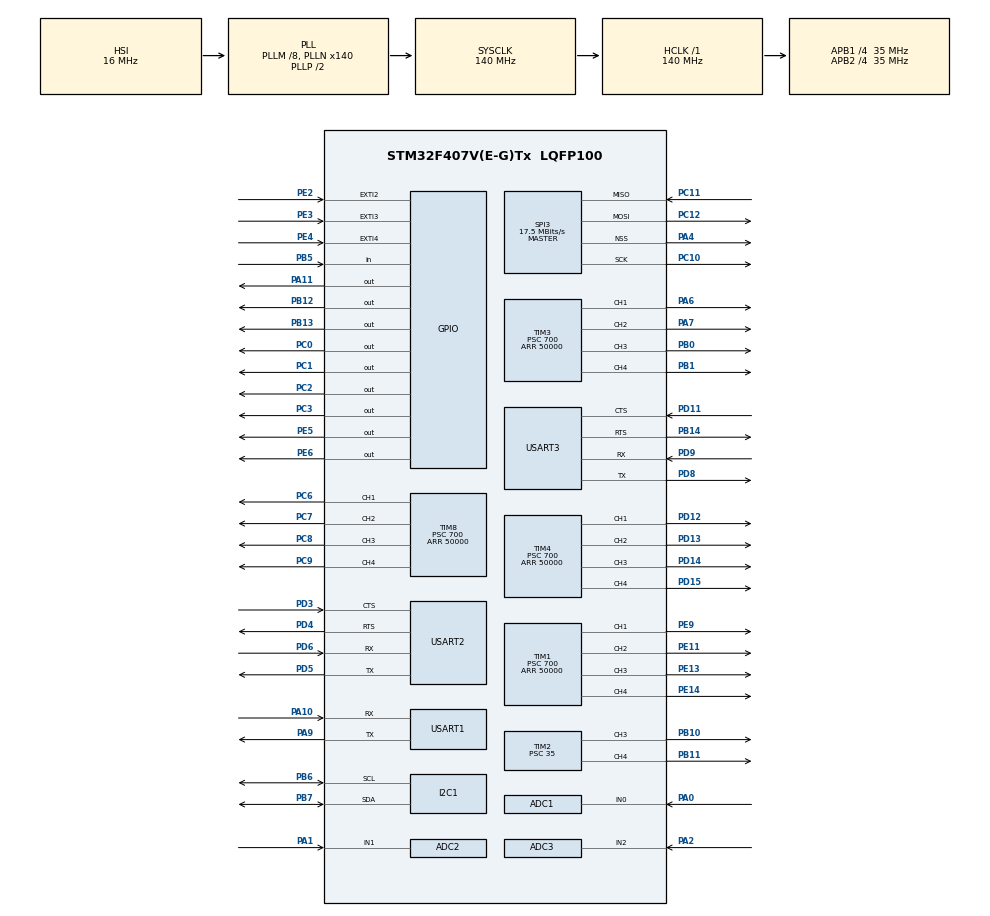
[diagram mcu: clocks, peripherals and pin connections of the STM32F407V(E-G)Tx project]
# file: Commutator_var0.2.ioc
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ADC1.Channel-0\#ChannelRegularConversion=ADC_CHANNEL_0
ADC1.ClockPrescaler=ADC_CLOCK_SYNC_PCLK_DIV4
ADC1.NbrOfConversionFlag=1
ADC1.Rank-0\#ChannelRegularConversion=1
ADC1.SamplingTime-0\#ChannelRegularConversion=ADC_SAMPLETIME_3CYCLES
ADC1.master=1
ADC2.Channel-0\#ChannelRegularConversion=ADC_CHANNEL_1
ADC2.ClockPrescaler=ADC_CLOCK_SYNC_PCLK_DIV4
ADC2.NbrOfConversionFlag=1
ADC2.Rank-0\#ChannelRegularConversion=1
ADC2.SamplingTime-0\#ChannelRegularConversion=ADC_SAMPLETIME_3CYCLES
ADC3.Channel-0\#ChannelRegularConversion=ADC_CHANNEL_2
ADC3.ClockPrescaler=ADC_CLOCK_SYNC_PCLK_DIV4
ADC3.NbrOfConversionFlag=1
ADC3.Rank-0\#ChannelRegularConversion=1
ADC3.SamplingTime-0\#ChannelRegularConversion=ADC_SAMPLETIME_3CYCLES
Mcu.Family=STM32F4
Mcu.Name=STM32F407V(E-G)Tx
Mcu.Package=LQFP100
NVIC.EXTI2_IRQn=true\:0\:0\:false\:false\:true\:true\:true
NVIC.EXTI3_IRQn=true\:0\:0\:false\:false\:true\:true\:true
NVIC.EXTI4_IRQn=true\:0\:0\:false\:false\:true\:true\:true
NVIC.PriorityGroup=NVIC_PRIORITYGROUP_4
PA0-WKUP.Signal=ADCx_IN0
PA1.Signal=ADCx_IN1
PA10.Mode=Asynchronous
PA10.Signal=USART1_RX
PA11.Signal=GPIO_Output
PA13.Mode=JTAG_5_pins
PA13.Signal=SYS_JTMS-SWDIO
PA14.Mode=JTAG_5_pins
PA14.Signal=SYS_JTCK-SWCLK
PA15.Mode=JTAG_5_pins
PA15.Signal=SYS_JTDI
PA2.Signal=ADCx_IN2
PA4.Mode=NSS_Signal_Hard_Output
PA4.Signal=SPI3_NSS
PA6.Signal=S_TIM3_CH1
PA7.Signal=S_TIM3_CH2
PA9.Mode=Asynchronous
PA9.Signal=USART1_TX
PB0.Signal=S_TIM3_CH3
PB1.Signal=S_TIM3_CH4
PB10.Signal=S_TIM2_CH3
PB11.Signal=S_TIM2_CH4
PB12.GPIO_Speed=GPIO_SPEED_FREQ_VERY_HIGH
PB12.Signal=GPIO_Output
PB13.GPIO_Speed=GPIO_SPEED_FREQ_VERY_HIGH
PB13.Signal=GPIO_Output
PB14.Mode=CTS_RTS
PB14.Signal=USART3_RTS
PB3.Mode=JTAG_5_pins
PB3.Signal=SYS_JTDO-SWO
PB4.Mode=JTAG_5_pins
PB4.Signal=SYS_JTRST
PB5.Signal=GPIO_Input
PB6.Mode=I2C
PB6.Signal=I2C1_SCL
PB7.Mode=I2C
PB7.Signal=I2C1_SDA
PC0.GPIO_Speed=GPIO_SPEED_FREQ_VERY_HIGH
PC0.Signal=GPIO_Output
PC1.GPIO_Speed=GPIO_SPEED_FREQ_VERY_HIGH
PC1.Signal=GPIO_Output
PC10.Mode=Full_Duplex_Master
PC10.Signal=SPI3_SCK
PC11.Mode=Full_Duplex_Master
PC11.Signal=SPI3_MISO
PC12.Mode=Full_Duplex_Master
PC12.Signal=SPI3_MOSI
PC14-OSC32_IN.Mode=LSE-External-Oscillator
PC14-OSC32_IN.Signal=RCC_OSC32_IN
PC15-OSC32_OUT.Mode=LSE-External-Oscillator
PC15-OSC32_OUT.Signal=RCC_OSC32_OUT
PC2.GPIO_Speed=GPIO_SPEED_FREQ_VERY_HIGH
PC2.Signal=GPIO_Output
PC3.GPIO_Speed=GPIO_SPEED_FREQ_VERY_HIGH
PC3.Signal=GPIO_Output
PC6.Signal=S_TIM8_CH1
PC7.Signal=S_TIM8_CH2
PC8.Signal=S_TIM8_CH3
PC9.Signal=S_TIM8_CH4
PD11.Mode=CTS_RTS
PD11.Signal=USART3_CTS
PD12.Signal=S_TIM4_CH1
PD13.Signal=S_TIM4_CH2
PD14.Signal=S_TIM4_CH3
PD15.Signal=S_TIM4_CH4
PD3.Mode=CTS_RTS
PD3.Signal=USART2_CTS
PD4.Mode=CTS_RTS
PD4.Signal=USART2_RTS
PD5.Mode=Asynchronous
PD5.Signal=USART2_TX
PD6.Mode=Asynchronous
PD6.Signal=USART2_RX
PD8.Mode=Asynchronous
PD8.Signal=USART3_TX
PD9.Mode=Asynchronous
PD9.Signal=USART3_RX
PE11.GPIO_Speed=GPIO_SPEED_FREQ_HIGH
PE11.Signal=S_TIM1_CH2
PE13.GPIO_Speed=GPIO_SPEED_FREQ_HIGH
PE13.Signal=S_TIM1_CH3
PE14.GPIO_Speed=GPIO_SPEED_FREQ_HIGH
PE14.Signal=S_TIM1_CH4
PE2.Signal=GPXTI2
PE3.Signal=GPXTI3
PE4.Signal=GPXTI4
PE5.Signal=GPIO_Output
PE6.Signal=GPIO_Output
PE9.GPIO_Speed=GPIO_SPEED_FREQ_HIGH
PE9.Signal=S_TIM1_CH1
PH0-OSC_IN.Mode=HSE-External-Oscillator
PH0-OSC_IN.Signal=RCC_OSC_IN
PH1-OSC_OUT.Mode=HSE-External-Oscillator
PH1-OSC_OUT.Signal=RCC_OSC_OUT
ProjectManager.HeapSize=0x200
ProjectManager.StackSize=0x400
ProjectManager.TargetToolchain=MDK-ARM V5.27
RCC.48MHZClocksFreq_Value=70000000
RCC.AHBFreq_Value=140000000
RCC.APB1CLKDivider=RCC_HCLK_DIV4
RCC.APB1Freq_Value=35000000
RCC.APB1TimFreq_Value=70000000
RCC.APB2CLKDivider=RCC_HCLK_DIV4
RCC.APB2Freq_Value=35000000
RCC.APB2TimFreq_Value=70000000
RCC.CortexFreq_Value=140000000
RCC.HCLKFreq_Value=140000000
RCC.HSE_VALUE=16000000
RCC.HSI_VALUE=16000000
RCC.PLLM=8
RCC.PLLN=140
RCC.SYSCLKFreq_VALUE=140000000
RCC.SYSCLKSource=RCC_SYSCLKSOURCE_PLLCLK
RCC.VCOOutputFreq_Value=280000000
SH.ADCx_IN0.0=ADC1_IN0,IN0
SH.ADCx_IN1.0=ADC2_IN1,IN1
SH.ADCx_IN2.0=ADC3_IN2,IN2
SH.S_TIM1_CH1.0=TIM1_CH1,PWM Generation1 CH1
SH.S_TIM1_CH2.0=TIM1_CH2,PWM Generation2 CH2
SH.S_TIM1_CH3.0=TIM1_CH3,PWM Generation3 CH3
SH.S_TIM1_CH4.0=TIM1_CH4,PWM Generation4 CH4
SH.S_TIM2_CH3.0=TIM2_CH3,PWM Generation3 CH3
SH.S_TIM2_CH4.0=TIM2_CH4,PWM Generation4 CH4
SH.S_TIM3_CH1.0=TIM3_CH1,PWM Generation1 CH1
SH.S_TIM3_CH2.0=TIM3_CH2,PWM Generation2 CH2
SH.S_TIM3_CH3.0=TIM3_CH3,PWM Generation3 CH3
SH.S_TIM3_CH4.0=TIM3_CH4,PWM Generation4 CH4
SH.S_TIM4_CH1.0=TIM4_CH1,PWM Generation1 CH1
SH.S_TIM4_CH2.0=TIM4_CH2,PWM Generation2 CH2
SH.S_TIM4_CH3.0=TIM4_CH3,PWM Generation3 CH3
SH.S_TIM4_CH4.0=TIM4_CH4,PWM Generation4 CH4
SH.S_TIM8_CH1.0=TIM8_CH1,PWM Generation1 CH1
SH.S_TIM8_CH2.0=TIM8_CH2,PWM Generation2 CH2
SH.S_TIM8_CH3.0=TIM8_CH3,PWM Generation3 CH3
SH.S_TIM8_CH4.0=TIM8_CH4,PWM Generation4 CH4
SPI3.BaudRatePrescaler=SPI_BAUDRATEPRESCALER_2
SPI3.CalculateBaudRate=17.5 MBits/s
SPI3.Direction=SPI_DIRECTION_2LINES
SPI3.Mode=SPI_MODE_MASTER
SPI3.VirtualNSS=VM_NSSHARD
SPI3.VirtualType=VM_MASTER
TIM1.Channel-PWM\ Generation1\ CH1=TIM_CHANNEL_1
TIM1.Channel-PWM\ Generation2\ CH2=TIM_CHANNEL_2
TIM1.Channel-PWM\ Generation3\ CH3=TIM_CHANNEL_3
TIM1.Channel-PWM\ Generation4\ CH4=TIM_CHANNEL_4
TIM1.CounterMode=TIM_COUNTERMODE_CENTERALIGNED1
TIM1.OCPolarity_2=TIM_OCPOLARITY_LOW
TIM1.OCPolarity_4=TIM_OCPOLARITY_LOW
TIM1.Period=50000
TIM1.Prescaler=700
TIM2.Channel-PWM\ Generation3\ CH3=TIM_CHANNEL_3
TIM2.Channel-PWM\ Generation4\ CH4=TIM_CHANNEL_4
TIM2.Period=2000
TIM2.Prescaler=35
TIM3.Channel-PWM\ Generation1\ CH1=TIM_CHANNEL_1
TIM3.Channel-PWM\ Generation2\ CH2=TIM_CHANNEL_2
TIM3.Channel-PWM\ Generation3\ CH3=TIM_CHANNEL_3
TIM3.Channel-PWM\ Generation4\ CH4=TIM_CHANNEL_4
TIM3.CounterMode=TIM_COUNTERMODE_CENTERALIGNED1
TIM3.OCPolarity_2=TIM_OCPOLARITY_LOW
TIM3.OCPolarity_4=TIM_OCPOLARITY_LOW
TIM3.Period=50000
TIM3.Prescaler=700
TIM4.Channel-PWM\ Generation1\ CH1=TIM_CHANNEL_1
TIM4.Channel-PWM\ Generation2\ CH2=TIM_CHANNEL_2
TIM4.Channel-PWM\ Generation3\ CH3=TIM_CHANNEL_3
TIM4.Channel-PWM\ Generation4\ CH4=TIM_CHANNEL_4
TIM4.CounterMode=TIM_COUNTERMODE_CENTERALIGNED1
TIM4.OCPolarity_2=TIM_OCPOLARITY_LOW
TIM4.OCPolarity_4=TIM_OCPOLARITY_LOW
TIM4.Period=50000
TIM4.Prescaler=700
TIM8.Channel-PWM\ Generation1\ CH1=TIM_CHANNEL_1
TIM8.Channel-PWM\ Generation2\ CH2=TIM_CHANNEL_2
TIM8.Channel-PWM\ Generation3\ CH3=TIM_CHANNEL_3
TIM8.Channel-PWM\ Generation4\ CH4=TIM_CHANNEL_4
TIM8.CounterMode=TIM_COUNTERMODE_CENTERALIGNED1
TIM8.OCPolarity_2=TIM_OCPOLARITY_LOW
TIM8.OCPolarity_4=TIM_OCPOLARITY_LOW
TIM8.Period=50000
TIM8.Prescaler=700
USART1.VirtualMode=VM_ASYNC
USART2.VirtualMode=VM_ASYNC
USART3.VirtualMode=VM_ASYNC
board=custom

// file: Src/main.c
/* USER CODE BEGIN Header */
/**
  ******************************************************************************
  * @file           : main.c
  * @brief          : Main program body
  ******************************************************************************
  * @attention
  *
  * <h2><center>&copy; Copyright (c) 2021 STMicroelectronics.
  * All rights reserved.</center></h2>
  *
  * This software component is licensed by ST under BSD 3-Clause license,
  * the "License"; You may not use this file except in compliance with the
  * License. You may obtain a copy of the License at:
  *                        opensource.org/licenses/BSD-3-Clause
  *
  ******************************************************************************
  */
/* USER CODE END Header */

#include "main.h"

/* USER CODE BEGIN Includes */
#include "main.h"
#include "INA233.h"
#include "setting.h"
#include "Display_LCD.h"
/* USER CODE END Includes */

/* USER CODE BEGIN PTD */
#ifndef __MAIN_
#define __MAIN_
#define TIM_PSC 0x0578; //0x01A4
#define TIM_CP 0xC350; //0xC350
#endif
/* USER CODE END PTD */

ADC_HandleTypeDef hadc1;
ADC_HandleTypeDef hadc2;
ADC_HandleTypeDef hadc3;

I2C_HandleTypeDef hi2c1;

SPI_HandleTypeDef hspi3;

TIM_HandleTypeDef htim1;
TIM_HandleTypeDef htim2;
TIM_HandleTypeDef htim3;
TIM_HandleTypeDef htim4;
TIM_HandleTypeDef htim8;

UART_HandleTypeDef huart1;
UART_HandleTypeDef huart2;
UART_HandleTypeDef huart3;

/* USER CODE BEGIN PV */
static float maxVolt, voltage[8], prevVolt, current[8], maxCur, m/*, tempADC, cvddADC, pvddADC*/;
volatile uint32_t /*ADC_Data_1, ADC_Data_2, ADC_Data_3,*/ FlagIRQ, TimeIRQ, timeCheckPiont;
int cycleCheck, cycleCheckPiont, BuzzerFlag, buzzerCycle, IRQCycle;
struct LCD_Port_t LCD_SPI;
char toChar[5];
IRQn_Type IRQn;

/* USER CODE END PV */

void SystemClock_Config(void);
static void MX_GPIO_Init(void);
static void MX_ADC1_Init(void);
static void MX_I2C1_Init(void);
static void MX_SPI3_Init(void);
static void MX_TIM1_Init(void);
static void MX_TIM2_Init(void);
static void MX_TIM3_Init(void);
static void MX_TIM4_Init(void);
static void MX_TIM8_Init(void);
static void MX_USART1_UART_Init(void);
static void MX_USART2_UART_Init(void);
static void MX_USART3_UART_Init(void);
static void MX_ADC2_Init(void);
static void MX_ADC3_Init(void);
/* USER CODE BEGIN PFP */
static void StartAllChannels(void);
static void StopAllChannels(void);
static void BuzzerOn(void);
static void BuzzerOff(void);
/* USER CODE END PFP */

int main(void)
{

  /* MCU Configuration--------------------------------------------------------*/

  /* Reset of all peripherals, Initializes the Flash interface and the Systick. */
  HAL_Init();

  /* Configure the system clock */
  SystemClock_Config();

  /* Initialize all configured peripherals */
  MX_GPIO_Init();
  MX_ADC1_Init();
  MX_I2C1_Init();
  MX_SPI3_Init();
  MX_TIM1_Init();
  MX_TIM2_Init();
  MX_TIM3_Init();
  MX_TIM4_Init();
  MX_TIM8_Init();
  MX_USART1_UART_Init();
  MX_USART2_UART_Init();
  MX_USART3_UART_Init();
  MX_ADC2_Init();
  MX_ADC3_Init();
  /* USER CODE BEGIN 2 */
//HAL_TIM_Base_Start_IT(&htim5);

//init INA233--------------------
	m = sens_set(50.0f); // (MAX CURRENT)
//-------------------------------

//init LCD-------------------------------------------------
//	LCD_SPI.SPI_Port.MISO_Pin = GPIO_PIN_11;
//	LCD_SPI.SPI_Port.MISO_Port = GPIOC;
	LCD_SPI.SPI_Port.MOSI_Pin = GPIO_PIN_2;
	LCD_SPI.SPI_Port.MOSI_Port = GPIOC;
	LCD_SPI.SPI_Port.SCLK_Pin = GPIO_PIN_13;
	LCD_SPI.SPI_Port.SCLK_Port = GPIOB;
	LCD_SPI.SPI_Port.SCS_Pin = GPIO_PIN_12;
	LCD_SPI.SPI_Port.SCS_Port = GPIOB;
	LCD_SPI.RESET_Pin = GPIO_PIN_1;
	LCD_SPI.RESET_Port = GPIOC;

//Display init--------------------------------------------
	ConfigDisplayPort(LCD_SPI);
	Init_LCD();
//	Paint_Color((uint8_t)0x22);
//	set_bckgrnd(0x5555);
	cls();
	//draw_line(1, 1, 159, 127, (uint8_t) 0xffff);
	//draw_symbol(20, 20, cTest);
	draw_string(5, 5, (char*) "U1c=");
	draw_string(5, 15, (char*) "U1p=");
	draw_string(5, 25, (char*) "U2c=");
	draw_string(5, 35, (char*) "U2p=");
	draw_string(5, 45, (char*) "U3c=");
	draw_string(5, 55, (char*) "U3p=");
	draw_string(5, 65, (char*) "U4c=");
	draw_string(5, 75, (char*) "U4p=");
	draw_string(5, 85, (char*) "Um=");
	draw_string(76, 5, (char*) "I1c=");
	draw_string(76, 15, (char*) "I1p=");
	draw_string(76, 25, (char*) "I2c=");
	draw_string(76, 35, (char*) "I2p=");
	draw_string(76, 45, (char*) "I3c=");
	draw_string(76, 55, (char*) "I3p=");
	draw_string(76, 65, (char*) "I4c=");
	draw_string(76, 75, (char*) "I4p=");
	draw_string(76, 85, (char*) "Im=");
	draw_string(5, 105, (char*) "Commutator pitaniya V2");
//---------------------------------------------------------

//Turn On Cooler-------------------------------------------------
	HAL_TIM_PWM_Start(&htim2, TIM_CHANNEL_4);
	TIM2->CCR4 = 2000;
  /* USER CODE END 2 */

  /* Infinite loop */
  while (1)
  {

    /* USER CODE BEGIN 3 */
		if (BuzzerFlag == 1)
		{
		buzzerCycle++;

			if (buzzerCycle == 2)
			{
				BuzzerOff();
				buzzerCycle = 0;
				BuzzerFlag = 0;
			}
		}
/*//Unlock Button after N msec----------------------------------
		if(FlagIRQ == 1)
		{ IRQCycle++;
			if (IRQCycle > 10)
			{
				__HAL_GPIO_EXTI_CLEAR_IT(IRQn);  // clear bit EXTI_PR
				NVIC_ClearPendingIRQ(IRQn); // clear bit NVIC_ICPRx
				HAL_NVIC_EnableIRQ(IRQn);   // turn on extIT
				FlagIRQ = 0;
				IRQCycle = 0;
			}
		}
//------------------------------------------------------------*/

/*// Turn on busser if PWM leg is hight-----------------------------------
    if (HAL_GPIO_ReadPin(GPIOA, GPIO_PIN_6) == GPIO_PIN_SET) BuzzerOn();
		else if (HAL_GPIO_ReadPin(GPIOA, GPIO_PIN_6) == GPIO_PIN_RESET) BuzzerOff();
//----------------------------------------------------------------------*/

// reading output data from INA233----------------------
		sens_V(0x80, &voltage[0], prevVolt);
		sens_V(0x82, &voltage[1], prevVolt);
		sens_V(0x84, &voltage[2], prevVolt);
		sens_V(0x86, &voltage[3], prevVolt);
		sens_V(0x88, &voltage[4], prevVolt);
		sens_V(0x8A, &voltage[5], prevVolt);
		sens_V(0x8C, &voltage[6], prevVolt);
		sens_V(0x8E, &voltage[7], prevVolt);

		for (int i = 0; i < 8; i++)
		{
			if ( maxVolt < voltage[i] ) maxVolt = voltage[i];
		}

		current[0] = sens_I(0x80, m);
		current[1] = sens_I(0x82, m);
		current[2] = sens_I(0x84, m);
		current[3] = sens_I(0x86, m);
		current[4] = sens_I(0x88, m);
		current[5] = sens_I(0x8A, m);
		current[6] = sens_I(0x8C, m);
		current[7] = sens_I(0x8E, m);

		for (int i = 0; i < 8; i++)
		{
			if ( maxCur < current[i] ) maxCur = current[i];
		}

//------------------------------------------------------

//send info to display bufer--------------------------------------------

		sprintf(toChar, "%.2f", voltage[0]);
		draw_string(35, 5, toChar);
		sprintf(toChar, "%.2f", voltage[1]);
		draw_string(35, 15, toChar);
		sprintf(toChar, "%.2f", voltage[2]);
		draw_string(35, 25, toChar);
		sprintf(toChar, "%.2f", voltage[3]);
		draw_string(35, 35, toChar);
		sprintf(toChar, "%.2f", voltage[4]);
		draw_string(35, 45, toChar);
		sprintf(toChar, "%.2f", voltage[5]);
		draw_string(35, 55, toChar);
		sprintf(toChar, "%.2f", voltage[6]);
		draw_string(35, 65, toChar);
		sprintf(toChar, "%.2f", voltage[7]);
		draw_string(35, 75, toChar);
		sprintf(toChar, "%.2f", maxVolt);
		draw_string(35, 85, toChar);
		sprintf(toChar, "%.2f", current[0]);
		draw_string(105, 5, toChar);
		sprintf(toChar, "%.2f", current[1]);
		draw_string(105, 15, toChar);
		sprintf(toChar, "%.2f", current[2]);
		draw_string(105, 25, toChar);
		sprintf(toChar, "%.2f", current[3]);
		draw_string(105, 35, toChar);
		sprintf(toChar, "%.2f", current[4]);
		draw_string(105, 45, toChar);
		sprintf(toChar, "%.2f", current[5]);
		draw_string(105, 55, toChar);
		sprintf(toChar, "%.2f", current[6]);
		draw_string(105, 65, toChar);
		sprintf(toChar, "%.2f", current[7]);
		draw_string(105, 75, toChar);
		sprintf(toChar, "%.2f", maxCur);
		draw_string(105, 85, toChar);
//----------------------------------------------------------------

/*//Read STM32 ADC data (temperature and Input Voltage lvls)--------
//		HAL_ADC_Start_DMA(&hadc1,(uint32_t*) &ADC_Data_1,1);
//		HAL_ADC_Start(&hadc1);
//		HAL_ADC_Start(&hadc2);
//		HAL_ADC_Start(&hadc3);
//		HAL_ADC_PollForConversion(&hadc1, 1000);
//		ADC_Data_1 = HAL_ADC_GetValue(&hadc1);
//		HAL_ADC_PollForConversion(&hadc2, 1000);
//		ADC_Data_2 = HAL_ADC_GetValue(&hadc2);
//		HAL_ADC_PollForConversion(&hadc3, 1000);
//		ADC_Data_3 = HAL_ADC_GetValue(&hadc3);
//		cvddADC = ((float)ADC_Data_1)*3.3/4096;
//		pvddADC = ((float)ADC_Data_2)*3.3/4096;
//		tempADC = ((float)ADC_Data_3)*3.3/4096;
//		HAL_ADC_Stop(&hadc1);
//		HAL_ADC_Stop(&hadc2);
//		HAL_ADC_Stop(&hadc3);
//-----------------------------------------------------------------*/

	cycleCheck++;
	if (cycleCheck%1 == 0)
	{
		UpdateBuf();
	}
	if (HAL_GPIO_ReadPin(GPIOA, GPIO_PIN_6) == GPIO_PIN_SET) HAL_GPIO_WritePin(GPIOE, GPIO_PIN_5, GPIO_PIN_SET);
	else HAL_GPIO_WritePin(GPIOE, GPIO_PIN_5, GPIO_PIN_RESET);
	}
  /* USER CODE END 3 */
}

void SystemClock_Config(void)
{
  RCC_OscInitTypeDef RCC_OscInitStruct = {0};
  RCC_ClkInitTypeDef RCC_ClkInitStruct = {0};

  /** Configure the main internal regulator output voltage
  */
  __HAL_RCC_PWR_CLK_ENABLE();
  __HAL_PWR_VOLTAGESCALING_CONFIG(PWR_REGULATOR_VOLTAGE_SCALE1);
  /** Initializes the CPU, AHB and APB busses clocks
  */
  RCC_OscInitStruct.OscillatorType = RCC_OSCILLATORTYPE_HSI;
  RCC_OscInitStruct.HSIState = RCC_HSI_ON;
  RCC_OscInitStruct.HSICalibrationValue = RCC_HSICALIBRATION_DEFAULT;
  RCC_OscInitStruct.PLL.PLLState = RCC_PLL_ON;
  RCC_OscInitStruct.PLL.PLLSource = RCC_PLLSOURCE_HSI;
  RCC_OscInitStruct.PLL.PLLM = 8;
  RCC_OscInitStruct.PLL.PLLN = 140;
  RCC_OscInitStruct.PLL.PLLP = RCC_PLLP_DIV2;
  RCC_OscInitStruct.PLL.PLLQ = 4;
  if (HAL_RCC_OscConfig(&RCC_OscInitStruct) != HAL_OK)
  {
    Error_Handler();
  }
  /** Initializes the CPU, AHB and APB busses clocks
  */
  RCC_ClkInitStruct.ClockType = RCC_CLOCKTYPE_HCLK|RCC_CLOCKTYPE_SYSCLK
                              |RCC_CLOCKTYPE_PCLK1|RCC_CLOCKTYPE_PCLK2;
  RCC_ClkInitStruct.SYSCLKSource = RCC_SYSCLKSOURCE_PLLCLK;
  RCC_ClkInitStruct.AHBCLKDivider = RCC_SYSCLK_DIV1;
  RCC_ClkInitStruct.APB1CLKDivider = RCC_HCLK_DIV4;
  RCC_ClkInitStruct.APB2CLKDivider = RCC_HCLK_DIV4;

  if (HAL_RCC_ClockConfig(&RCC_ClkInitStruct, FLASH_LATENCY_4) != HAL_OK)
  {
    Error_Handler();
  }
}

static void MX_ADC1_Init(void)
{

  ADC_ChannelConfTypeDef sConfig = {0};

  /** Configure the global features of the ADC (Clock, Resolution, Data Alignment and number of conversion)
  */
  hadc1.Instance = ADC1;
  hadc1.Init.ClockPrescaler = ADC_CLOCK_SYNC_PCLK_DIV4;
  hadc1.Init.Resolution = ADC_RESOLUTION_12B;
  hadc1.Init.ScanConvMode = DISABLE;
  hadc1.Init.ContinuousConvMode = DISABLE;
  hadc1.Init.DiscontinuousConvMode = DISABLE;
  hadc1.Init.ExternalTrigConvEdge = ADC_EXTERNALTRIGCONVEDGE_NONE;
  hadc1.Init.ExternalTrigConv = ADC_SOFTWARE_START;
  hadc1.Init.DataAlign = ADC_DATAALIGN_RIGHT;
  hadc1.Init.NbrOfConversion = 1;
  hadc1.Init.DMAContinuousRequests = DISABLE;
  hadc1.Init.EOCSelection = ADC_EOC_SINGLE_CONV;
  if (HAL_ADC_Init(&hadc1) != HAL_OK)
  {
    Error_Handler();
  }
  /** Configure for the selected ADC regular channel its corresponding rank in the sequencer and its sample time.
  */
  sConfig.Channel = ADC_CHANNEL_0;
  sConfig.Rank = 1;
  sConfig.SamplingTime = ADC_SAMPLETIME_3CYCLES;
  if (HAL_ADC_ConfigChannel(&hadc1, &sConfig) != HAL_OK)
  {
    Error_Handler();
  }

}

static void MX_ADC2_Init(void)
{

  ADC_ChannelConfTypeDef sConfig = {0};

  /** Configure the global features of the ADC (Clock, Resolution, Data Alignment and number of conversion)
  */
  hadc2.Instance = ADC2;
  hadc2.Init.ClockPrescaler = ADC_CLOCK_SYNC_PCLK_DIV4;
  hadc2.Init.Resolution = ADC_RESOLUTION_12B;
  hadc2.Init.ScanConvMode = DISABLE;
  hadc2.Init.ContinuousConvMode = DISABLE;
  hadc2.Init.DiscontinuousConvMode = DISABLE;
  hadc2.Init.ExternalTrigConvEdge = ADC_EXTERNALTRIGCONVEDGE_NONE;
  hadc2.Init.ExternalTrigConv = ADC_SOFTWARE_START;
  hadc2.Init.DataAlign = ADC_DATAALIGN_RIGHT;
  hadc2.Init.NbrOfConversion = 1;
  hadc2.Init.DMAContinuousRequests = DISABLE;
  hadc2.Init.EOCSelection = ADC_EOC_SINGLE_CONV;
  if (HAL_ADC_Init(&hadc2) != HAL_OK)
  {
    Error_Handler();
  }
  /** Configure for the selected ADC regular channel its corresponding rank in the sequencer and its sample time.
  */
  sConfig.Channel = ADC_CHANNEL_1;
  sConfig.Rank = 1;
  sConfig.SamplingTime = ADC_SAMPLETIME_3CYCLES;
  if (HAL_ADC_ConfigChannel(&hadc2, &sConfig) != HAL_OK)
  {
    Error_Handler();
  }

}

static void MX_ADC3_Init(void)
{

  ADC_ChannelConfTypeDef sConfig = {0};

  /** Configure the global features of the ADC (Clock, Resolution, Data Alignment and number of conversion)
  */
  hadc3.Instance = ADC3;
  hadc3.Init.ClockPrescaler = ADC_CLOCK_SYNC_PCLK_DIV4;
  hadc3.Init.Resolution = ADC_RESOLUTION_12B;
  hadc3.Init.ScanConvMode = DISABLE;
  hadc3.Init.ContinuousConvMode = DISABLE;
  hadc3.Init.DiscontinuousConvMode = DISABLE;
  hadc3.Init.ExternalTrigConvEdge = ADC_EXTERNALTRIGCONVEDGE_NONE;
  hadc3.Init.ExternalTrigConv = ADC_SOFTWARE_START;
  hadc3.Init.DataAlign = ADC_DATAALIGN_RIGHT;
  hadc3.Init.NbrOfConversion = 1;
  hadc3.Init.DMAContinuousRequests = DISABLE;
  hadc3.Init.EOCSelection = ADC_EOC_SINGLE_CONV;
  if (HAL_ADC_Init(&hadc3) != HAL_OK)
  {
    Error_Handler();
  }
  /** Configure for the selected ADC regular channel its corresponding rank in the sequencer and its sample time.
  */
  sConfig.Channel = ADC_CHANNEL_2;
  sConfig.Rank = 1;
  sConfig.SamplingTime = ADC_SAMPLETIME_3CYCLES;
  if (HAL_ADC_ConfigChannel(&hadc3, &sConfig) != HAL_OK)
  {
    Error_Handler();
  }

}

static void MX_I2C1_Init(void)
{

  hi2c1.Instance = I2C1;
  hi2c1.Init.ClockSpeed = 100000;
  hi2c1.Init.DutyCycle = I2C_DUTYCYCLE_2;
  hi2c1.Init.OwnAddress1 = 0;
  hi2c1.Init.AddressingMode = I2C_ADDRESSINGMODE_7BIT;
  hi2c1.Init.DualAddressMode = I2C_DUALADDRESS_DISABLE;
  hi2c1.Init.OwnAddress2 = 0;
  hi2c1.Init.GeneralCallMode = I2C_GENERALCALL_DISABLE;
  hi2c1.Init.NoStretchMode = I2C_NOSTRETCH_DISABLE;
  if (HAL_I2C_Init(&hi2c1) != HAL_OK)
  {
    Error_Handler();
  }

}

static void MX_SPI3_Init(void)
{

  /* SPI3 parameter configuration*/
  hspi3.Instance = SPI3;
  hspi3.Init.Mode = SPI_MODE_MASTER;
  hspi3.Init.Direction = SPI_DIRECTION_2LINES;
  hspi3.Init.DataSize = SPI_DATASIZE_8BIT;
  hspi3.Init.CLKPolarity = SPI_POLARITY_LOW;
  hspi3.Init.CLKPhase = SPI_PHASE_1EDGE;
  hspi3.Init.NSS = SPI_NSS_HARD_OUTPUT;
  hspi3.Init.BaudRatePrescaler = SPI_BAUDRATEPRESCALER_2;
  hspi3.Init.FirstBit = SPI_FIRSTBIT_MSB;
  hspi3.Init.TIMode = SPI_TIMODE_DISABLE;
  hspi3.Init.CRCCalculation = SPI_CRCCALCULATION_DISABLE;
  hspi3.Init.CRCPolynomial = 10;
  if (HAL_SPI_Init(&hspi3) != HAL_OK)
  {
    Error_Handler();
  }

}

static void MX_TIM1_Init(void)
{

  TIM_MasterConfigTypeDef sMasterConfig = {0};
  TIM_OC_InitTypeDef sConfigOC = {0};
  TIM_BreakDeadTimeConfigTypeDef sBreakDeadTimeConfig = {0};

  htim1.Instance = TIM1;
  htim1.Init.Prescaler = 700;
  htim1.Init.CounterMode = TIM_COUNTERMODE_CENTERALIGNED1;
  htim1.Init.Period = 50000;
  htim1.Init.ClockDivision = TIM_CLOCKDIVISION_DIV1;
  htim1.Init.RepetitionCounter = 0;
  htim1.Init.AutoReloadPreload = TIM_AUTORELOAD_PRELOAD_DISABLE;
  if (HAL_TIM_PWM_Init(&htim1) != HAL_OK)
  {
    Error_Handler();
  }
  sMasterConfig.MasterOutputTrigger = TIM_TRGO_RESET;
  sMasterConfig.MasterSlaveMode = TIM_MASTERSLAVEMODE_DISABLE;
  if (HAL_TIMEx_MasterConfigSynchronization(&htim1, &sMasterConfig) != HAL_OK)
  {
    Error_Handler();
  }
  sConfigOC.OCMode = TIM_OCMODE_PWM1;
  sConfigOC.Pulse = 0;
  sConfigOC.OCPolarity = TIM_OCPOLARITY_HIGH;
  sConfigOC.OCNPolarity = TIM_OCNPOLARITY_HIGH;
  sConfigOC.OCFastMode = TIM_OCFAST_DISABLE;
  sConfigOC.OCIdleState = TIM_OCIDLESTATE_RESET;
  sConfigOC.OCNIdleState = TIM_OCNIDLESTATE_RESET;
  if (HAL_TIM_PWM_ConfigChannel(&htim1, &sConfigOC, TIM_CHANNEL_1) != HAL_OK)
  {
    Error_Handler();
  }
  sConfigOC.OCPolarity = TIM_OCPOLARITY_LOW;
  if (HAL_TIM_PWM_ConfigChannel(&htim1, &sConfigOC, TIM_CHANNEL_2) != HAL_OK)
  {
    Error_Handler();
  }
  sConfigOC.OCPolarity = TIM_OCPOLARITY_HIGH;
  if (HAL_TIM_PWM_ConfigChannel(&htim1, &sConfigOC, TIM_CHANNEL_3) != HAL_OK)
  {
    Error_Handler();
  }
  sConfigOC.OCPolarity = TIM_OCPOLARITY_LOW;
  if (HAL_TIM_PWM_ConfigChannel(&htim1, &sConfigOC, TIM_CHANNEL_4) != HAL_OK)
  {
    Error_Handler();
  }
  sBreakDeadTimeConfig.OffStateRunMode = TIM_OSSR_DISABLE;
  sBreakDeadTimeConfig.OffStateIDLEMode = TIM_OSSI_DISABLE;
  sBreakDeadTimeConfig.LockLevel = TIM_LOCKLEVEL_OFF;
  sBreakDeadTimeConfig.DeadTime = 0;
  sBreakDeadTimeConfig.BreakState = TIM_BREAK_DISABLE;
  sBreakDeadTimeConfig.BreakPolarity = TIM_BREAKPOLARITY_HIGH;
  sBreakDeadTimeConfig.AutomaticOutput = TIM_AUTOMATICOUTPUT_DISABLE;
  if (HAL_TIMEx_ConfigBreakDeadTime(&htim1, &sBreakDeadTimeConfig) != HAL_OK)
  {
    Error_Handler();
  }
  HAL_TIM_MspPostInit(&htim1);

}

static void MX_TIM2_Init(void)
{

  TIM_MasterConfigTypeDef sMasterConfig = {0};
  TIM_OC_InitTypeDef sConfigOC = {0};

  htim2.Instance = TIM2;
  htim2.Init.Prescaler = 35;
  htim2.Init.CounterMode = TIM_COUNTERMODE_UP;
  htim2.Init.Period = 2000;
  htim2.Init.ClockDivision = TIM_CLOCKDIVISION_DIV1;
  htim2.Init.AutoReloadPreload = TIM_AUTORELOAD_PRELOAD_DISABLE;
  if (HAL_TIM_PWM_Init(&htim2) != HAL_OK)
  {
    Error_Handler();
  }
  sMasterConfig.MasterOutputTrigger = TIM_TRGO_RESET;
  sMasterConfig.MasterSlaveMode = TIM_MASTERSLAVEMODE_DISABLE;
  if (HAL_TIMEx_MasterConfigSynchronization(&htim2, &sMasterConfig) != HAL_OK)
  {
    Error_Handler();
  }
  sConfigOC.OCMode = TIM_OCMODE_PWM1;
  sConfigOC.Pulse = 0;
  sConfigOC.OCPolarity = TIM_OCPOLARITY_HIGH;
  sConfigOC.OCFastMode = TIM_OCFAST_DISABLE;
  if (HAL_TIM_PWM_ConfigChannel(&htim2, &sConfigOC, TIM_CHANNEL_3) != HAL_OK)
  {
    Error_Handler();
  }
  if (HAL_TIM_PWM_ConfigChannel(&htim2, &sConfigOC, TIM_CHANNEL_4) != HAL_OK)
  {
    Error_Handler();
  }
  HAL_TIM_MspPostInit(&htim2);

}

static void MX_TIM3_Init(void)
{

  TIM_MasterConfigTypeDef sMasterConfig = {0};
  TIM_OC_InitTypeDef sConfigOC = {0};

  htim3.Instance = TIM3;
  htim3.Init.Prescaler = 700;
  htim3.Init.CounterMode = TIM_COUNTERMODE_CENTERALIGNED1;
  htim3.Init.Period = 50000;
  htim3.Init.ClockDivision = TIM_CLOCKDIVISION_DIV1;
  htim3.Init.AutoReloadPreload = TIM_AUTORELOAD_PRELOAD_DISABLE;
  if (HAL_TIM_PWM_Init(&htim3) != HAL_OK)
  {
    Error_Handler();
  }
  sMasterConfig.MasterOutputTrigger = TIM_TRGO_RESET;
  sMasterConfig.MasterSlaveMode = TIM_MASTERSLAVEMODE_DISABLE;
  if (HAL_TIMEx_MasterConfigSynchronization(&htim3, &sMasterConfig) != HAL_OK)
  {
    Error_Handler();
  }
  sConfigOC.OCMode = TIM_OCMODE_PWM1;
  sConfigOC.Pulse = 0;
  sConfigOC.OCPolarity = TIM_OCPOLARITY_HIGH;
  sConfigOC.OCFastMode = TIM_OCFAST_DISABLE;
  if (HAL_TIM_PWM_ConfigChannel(&htim3, &sConfigOC, TIM_CHANNEL_1) != HAL_OK)
  {
    Error_Handler();
  }
  sConfigOC.OCPolarity = TIM_OCPOLARITY_LOW;
  if (HAL_TIM_PWM_ConfigChannel(&htim3, &sConfigOC, TIM_CHANNEL_2) != HAL_OK)
  {
    Error_Handler();
  }
  sConfigOC.OCPolarity = TIM_OCPOLARITY_HIGH;
  if (HAL_TIM_PWM_ConfigChannel(&htim3, &sConfigOC, TIM_CHANNEL_3) != HAL_OK)
  {
    Error_Handler();
  }
  sConfigOC.OCPolarity = TIM_OCPOLARITY_LOW;
  if (HAL_TIM_PWM_ConfigChannel(&htim3, &sConfigOC, TIM_CHANNEL_4) != HAL_OK)
  {
    Error_Handler();
  }
  HAL_TIM_MspPostInit(&htim3);

}

static void MX_TIM4_Init(void)
{

  TIM_MasterConfigTypeDef sMasterConfig = {0};
  TIM_OC_InitTypeDef sConfigOC = {0};

  htim4.Instance = TIM4;
  htim4.Init.Prescaler = 700;
  htim4.Init.CounterMode = TIM_COUNTERMODE_CENTERALIGNED1;
  htim4.Init.Period = 50000;
  htim4.Init.ClockDivision = TIM_CLOCKDIVISION_DIV1;
  htim4.Init.AutoReloadPreload = TIM_AUTORELOAD_PRELOAD_DISABLE;
  if (HAL_TIM_PWM_Init(&htim4) != HAL_OK)
  {
    Error_Handler();
  }
  sMasterConfig.MasterOutputTrigger = TIM_TRGO_RESET;
  sMasterConfig.MasterSlaveMode = TIM_MASTERSLAVEMODE_DISABLE;
  if (HAL_TIMEx_MasterConfigSynchronization(&htim4, &sMasterConfig) != HAL_OK)
  {
    Error_Handler();
  }
  sConfigOC.OCMode = TIM_OCMODE_PWM1;
  sConfigOC.Pulse = 0;
  sConfigOC.OCPolarity = TIM_OCPOLARITY_HIGH;
  sConfigOC.OCFastMode = TIM_OCFAST_DISABLE;
  if (HAL_TIM_PWM_ConfigChannel(&htim4, &sConfigOC, TIM_CHANNEL_1) != HAL_OK)
  {
    Error_Handler();
  }
  sConfigOC.OCPolarity = TIM_OCPOLARITY_LOW;
  if (HAL_TIM_PWM_ConfigChannel(&htim4, &sConfigOC, TIM_CHANNEL_2) != HAL_OK)
  {
    Error_Handler();
  }
  sConfigOC.OCPolarity = TIM_OCPOLARITY_HIGH;
  if (HAL_TIM_PWM_ConfigChannel(&htim4, &sConfigOC, TIM_CHANNEL_3) != HAL_OK)
  {
    Error_Handler();
  }
  sConfigOC.OCPolarity = TIM_OCPOLARITY_LOW;
  if (HAL_TIM_PWM_ConfigChannel(&htim4, &sConfigOC, TIM_CHANNEL_4) != HAL_OK)
  {
    Error_Handler();
  }
  HAL_TIM_MspPostInit(&htim4);

}

static void MX_TIM8_Init(void)
{

  TIM_MasterConfigTypeDef sMasterConfig = {0};
  TIM_OC_InitTypeDef sConfigOC = {0};
  TIM_BreakDeadTimeConfigTypeDef sBreakDeadTimeConfig = {0};

  htim8.Instance = TIM8;
  htim8.Init.Prescaler = 700;
  htim8.Init.CounterMode = TIM_COUNTERMODE_CENTERALIGNED1;
  htim8.Init.Period = 50000;
  htim8.Init.ClockDivision = TIM_CLOCKDIVISION_DIV1;
  htim8.Init.RepetitionCounter = 0;
  htim8.Init.AutoReloadPreload = TIM_AUTORELOAD_PRELOAD_DISABLE;
  if (HAL_TIM_PWM_Init(&htim8) != HAL_OK)
  {
    Error_Handler();
  }
  sMasterConfig.MasterOutputTrigger = TIM_TRGO_RESET;
  sMasterConfig.MasterSlaveMode = TIM_MASTERSLAVEMODE_DISABLE;
  if (HAL_TIMEx_MasterConfigSynchronization(&htim8, &sMasterConfig) != HAL_OK)
  {
    Error_Handler();
  }
  sConfigOC.OCMode = TIM_OCMODE_PWM1;
  sConfigOC.Pulse = 0;
  sConfigOC.OCPolarity = TIM_OCPOLARITY_HIGH;
  sConfigOC.OCNPolarity = TIM_OCNPOLARITY_HIGH;
  sConfigOC.OCFastMode = TIM_OCFAST_DISABLE;
  sConfigOC.OCIdleState = TIM_OCIDLESTATE_RESET;
  sConfigOC.OCNIdleState = TIM_OCNIDLESTATE_RESET;
  if (HAL_TIM_PWM_ConfigChannel(&htim8, &sConfigOC, TIM_CHANNEL_1) != HAL_OK)
  {
    Error_Handler();
  }
  sConfigOC.OCPolarity = TIM_OCPOLARITY_LOW;
  if (HAL_TIM_PWM_ConfigChannel(&htim8, &sConfigOC, TIM_CHANNEL_2) != HAL_OK)
  {
    Error_Handler();
  }
  sConfigOC.OCPolarity = TIM_OCPOLARITY_HIGH;
  if (HAL_TIM_PWM_ConfigChannel(&htim8, &sConfigOC, TIM_CHANNEL_3) != HAL_OK)
  {
    Error_Handler();
  }
  sConfigOC.OCPolarity = TIM_OCPOLARITY_LOW;
  if (HAL_TIM_PWM_ConfigChannel(&htim8, &sConfigOC, TIM_CHANNEL_4) != HAL_OK)
  {
    Error_Handler();
  }
  sBreakDeadTimeConfig.OffStateRunMode = TIM_OSSR_DISABLE;
  sBreakDeadTimeConfig.OffStateIDLEMode = TIM_OSSI_DISABLE;
  sBreakDeadTimeConfig.LockLevel = TIM_LOCKLEVEL_OFF;
  sBreakDeadTimeConfig.DeadTime = 0;
  sBreakDeadTimeConfig.BreakState = TIM_BREAK_DISABLE;
  sBreakDeadTimeConfig.BreakPolarity = TIM_BREAKPOLARITY_HIGH;
  sBreakDeadTimeConfig.AutomaticOutput = TIM_AUTOMATICOUTPUT_DISABLE;
  if (HAL_TIMEx_ConfigBreakDeadTime(&htim8, &sBreakDeadTimeConfig) != HAL_OK)
  {
    Error_Handler();
  }
  HAL_TIM_MspPostInit(&htim8);

}

static void MX_USART1_UART_Init(void)
{

  huart1.Instance = USART1;
  huart1.Init.BaudRate = 115200;
  huart1.Init.WordLength = UART_WORDLENGTH_8B;
  huart1.Init.StopBits = UART_STOPBITS_1;
  huart1.Init.Parity = UART_PARITY_NONE;
  huart1.Init.Mode = UART_MODE_TX_RX;
  huart1.Init.HwFlowCtl = UART_HWCONTROL_NONE;
  huart1.Init.OverSampling = UART_OVERSAMPLING_16;
  if (HAL_UART_Init(&huart1) != HAL_OK)
  {
    Error_Handler();
  }

}

static void MX_USART2_UART_Init(void)
{

  huart2.Instance = USART2;
  huart2.Init.BaudRate = 115200;
  huart2.Init.WordLength = UART_WORDLENGTH_8B;
  huart2.Init.StopBits = UART_STOPBITS_1;
  huart2.Init.Parity = UART_PARITY_NONE;
  huart2.Init.Mode = UART_MODE_TX_RX;
  huart2.Init.HwFlowCtl = UART_HWCONTROL_RTS_CTS;
  huart2.Init.OverSampling = UART_OVERSAMPLING_16;
  if (HAL_UART_Init(&huart2) != HAL_OK)
  {
    Error_Handler();
  }

}

static void MX_USART3_UART_Init(void)
{

  huart3.Instance = USART3;
  huart3.Init.BaudRate = 115200;
  huart3.Init.WordLength = UART_WORDLENGTH_8B;
  huart3.Init.StopBits = UART_STOPBITS_1;
  huart3.Init.Parity = UART_PARITY_NONE;
  huart3.Init.Mode = UART_MODE_TX_RX;
  huart3.Init.HwFlowCtl = UART_HWCONTROL_RTS_CTS;
  huart3.Init.OverSampling = UART_OVERSAMPLING_16;
  if (HAL_UART_Init(&huart3) != HAL_OK)
  {
    Error_Handler();
  }

}

static void MX_GPIO_Init(void)
{
  GPIO_InitTypeDef GPIO_InitStruct = {0};

  /* GPIO Ports Clock Enable */
  __HAL_RCC_GPIOE_CLK_ENABLE();
  __HAL_RCC_GPIOC_CLK_ENABLE();
  __HAL_RCC_GPIOH_CLK_ENABLE();
  __HAL_RCC_GPIOA_CLK_ENABLE();
  __HAL_RCC_GPIOB_CLK_ENABLE();
  __HAL_RCC_GPIOD_CLK_ENABLE();

  /*Configure GPIO pin Output Level */
  HAL_GPIO_WritePin(GPIOE, GPIO_PIN_5|GPIO_PIN_6, GPIO_PIN_RESET);

  /*Configure GPIO pin Output Level */
  HAL_GPIO_WritePin(GPIOC, GPIO_PIN_0|GPIO_PIN_1|GPIO_PIN_2|GPIO_PIN_3, GPIO_PIN_RESET);

  /*Configure GPIO pin Output Level */
  HAL_GPIO_WritePin(GPIOB, GPIO_PIN_12|GPIO_PIN_13, GPIO_PIN_RESET);

  /*Configure GPIO pin Output Level */
  HAL_GPIO_WritePin(GPIOA, GPIO_PIN_11, GPIO_PIN_RESET);

  /*Configure GPIO pins : PE2 PE3 PE4 */
  GPIO_InitStruct.Pin = GPIO_PIN_2|GPIO_PIN_3|GPIO_PIN_4;
  GPIO_InitStruct.Mode = GPIO_MODE_IT_RISING;
  GPIO_InitStruct.Pull = GPIO_NOPULL;
  HAL_GPIO_Init(GPIOE, &GPIO_InitStruct);

  /*Configure GPIO pins : PE5 PE6 */
  GPIO_InitStruct.Pin = GPIO_PIN_5|GPIO_PIN_6;
  GPIO_InitStruct.Mode = GPIO_MODE_OUTPUT_PP;
  GPIO_InitStruct.Pull = GPIO_NOPULL;
  GPIO_InitStruct.Speed = GPIO_SPEED_FREQ_LOW;
  HAL_GPIO_Init(GPIOE, &GPIO_InitStruct);

  /*Configure GPIO pins : PC0 PC1 PC2 PC3 */
  GPIO_InitStruct.Pin = GPIO_PIN_0|GPIO_PIN_1|GPIO_PIN_2|GPIO_PIN_3;
  GPIO_InitStruct.Mode = GPIO_MODE_OUTPUT_PP;
  GPIO_InitStruct.Pull = GPIO_NOPULL;
  GPIO_InitStruct.Speed = GPIO_SPEED_FREQ_VERY_HIGH;
  HAL_GPIO_Init(GPIOC, &GPIO_InitStruct);

  /*Configure GPIO pins : PB12 PB13 */
  GPIO_InitStruct.Pin = GPIO_PIN_12|GPIO_PIN_13;
  GPIO_InitStruct.Mode = GPIO_MODE_OUTPUT_PP;
  GPIO_InitStruct.Pull = GPIO_NOPULL;
  GPIO_InitStruct.Speed = GPIO_SPEED_FREQ_VERY_HIGH;
  HAL_GPIO_Init(GPIOB, &GPIO_InitStruct);

  /*Configure GPIO pin : PA11 */
  GPIO_InitStruct.Pin = GPIO_PIN_11;
  GPIO_InitStruct.Mode = GPIO_MODE_OUTPUT_PP;
  GPIO_InitStruct.Pull = GPIO_NOPULL;
  GPIO_InitStruct.Speed = GPIO_SPEED_FREQ_LOW;
  HAL_GPIO_Init(GPIOA, &GPIO_InitStruct);

  /*Configure GPIO pin : PB5 */
  GPIO_InitStruct.Pin = GPIO_PIN_5;
  GPIO_InitStruct.Mode = GPIO_MODE_INPUT;
  GPIO_InitStruct.Pull = GPIO_NOPULL;
  HAL_GPIO_Init(GPIOB, &GPIO_InitStruct);

  /* EXTI interrupt init*/
  HAL_NVIC_SetPriority(EXTI2_IRQn, 0, 0);
  HAL_NVIC_EnableIRQ(EXTI2_IRQn);

  HAL_NVIC_SetPriority(EXTI3_IRQn, 0, 0);
  HAL_NVIC_EnableIRQ(EXTI3_IRQn);

  HAL_NVIC_SetPriority(EXTI4_IRQn, 0, 0);
  HAL_NVIC_EnableIRQ(EXTI4_IRQn);

}

/* USER CODE BEGIN 4 */
void StartAllChannels(void)
{
	HAL_TIM_PWM_Start(&htim1, TIM_CHANNEL_1);
	HAL_TIM_PWM_Start(&htim1, TIM_CHANNEL_2);
	HAL_TIM_PWM_Start(&htim1, TIM_CHANNEL_3);
	HAL_TIM_PWM_Start(&htim1, TIM_CHANNEL_4);
	TIM1->CCR1 = 24995;
	TIM1->CCR2 = 25005;
	TIM1->CCR3 = 24005;
	TIM1->CCR4 = 23995;
	HAL_TIM_PWM_Start(&htim3, TIM_CHANNEL_1);
	HAL_TIM_PWM_Start(&htim3, TIM_CHANNEL_2);
	HAL_TIM_PWM_Start(&htim3, TIM_CHANNEL_3);
	HAL_TIM_PWM_Start(&htim3, TIM_CHANNEL_4);
	TIM3->CCR1 = 24995;
	TIM3->CCR2 = 25005;
	TIM3->CCR3 = 24005;
	TIM3->CCR4 = 23995;
	HAL_TIM_PWM_Start(&htim4, TIM_CHANNEL_1);
	HAL_TIM_PWM_Start(&htim4, TIM_CHANNEL_2);
	HAL_TIM_PWM_Start(&htim4, TIM_CHANNEL_3);
	HAL_TIM_PWM_Start(&htim4, TIM_CHANNEL_4);
	TIM4->CCR1 = 24995;
	TIM4->CCR2 = 25005;
	TIM4->CCR3 = 24005;
	TIM4->CCR4 = 23995;
	HAL_TIM_PWM_Start(&htim8, TIM_CHANNEL_1);
	HAL_TIM_PWM_Start(&htim8, TIM_CHANNEL_2);
	HAL_TIM_PWM_Start(&htim8, TIM_CHANNEL_3);
	HAL_TIM_PWM_Start(&htim8, TIM_CHANNEL_4);
	TIM8->CCR1 = 24995;
	TIM8->CCR2 = 25005;
	TIM8->CCR3 = 24005;
	TIM8->CCR4 = 23995;
}
void CalibAllChannels(void)
{
	HAL_TIM_PWM_Start(&htim1, TIM_CHANNEL_1);
	HAL_TIM_PWM_Start(&htim1, TIM_CHANNEL_2);
	HAL_TIM_PWM_Start(&htim1, TIM_CHANNEL_3);
	HAL_TIM_PWM_Start(&htim1, TIM_CHANNEL_4);
	TIM1->CCR1 = 50000;
	TIM1->CCR2 = 50000;
	TIM1->CCR3 = 50000;
	TIM1->CCR4 = 50000;
	HAL_TIM_PWM_Start(&htim3, TIM_CHANNEL_1);
	HAL_TIM_PWM_Start(&htim3, TIM_CHANNEL_2);
	HAL_TIM_PWM_Start(&htim3, TIM_CHANNEL_3);
	HAL_TIM_PWM_Start(&htim3, TIM_CHANNEL_4);
	TIM3->CCR1 = 50000;
	TIM3->CCR2 = 50000;
	TIM3->CCR3 = 50000;
	TIM3->CCR4 = 50000;
	HAL_TIM_PWM_Start(&htim4, TIM_CHANNEL_1);
	HAL_TIM_PWM_Start(&htim4, TIM_CHANNEL_2);
	HAL_TIM_PWM_Start(&htim4, TIM_CHANNEL_3);
	HAL_TIM_PWM_Start(&htim4, TIM_CHANNEL_4);
	TIM4->CCR1 = 50000;
	TIM4->CCR2 = 50000;
	TIM4->CCR3 = 50000;
	TIM4->CCR4 = 50000;
	HAL_TIM_PWM_Start(&htim8, TIM_CHANNEL_1);
	HAL_TIM_PWM_Start(&htim8, TIM_CHANNEL_2);
	HAL_TIM_PWM_Start(&htim8, TIM_CHANNEL_3);
	HAL_TIM_PWM_Start(&htim8, TIM_CHANNEL_4);
	TIM8->CCR1 = 50000;
	TIM8->CCR2 = 50000;
	TIM8->CCR3 = 50000;
	TIM8->CCR4 = 50000;
}
void StopAllChannels(void)
{
	HAL_TIM_PWM_Stop(&htim1, TIM_CHANNEL_1);
	HAL_TIM_PWM_Stop(&htim1, TIM_CHANNEL_2);
	HAL_TIM_PWM_Stop(&htim1, TIM_CHANNEL_3);
	HAL_TIM_PWM_Stop(&htim1, TIM_CHANNEL_4);
	HAL_TIM_PWM_Stop(&htim3, TIM_CHANNEL_1);
	HAL_TIM_PWM_Stop(&htim3, TIM_CHANNEL_2);
	HAL_TIM_PWM_Stop(&htim3, TIM_CHANNEL_3);
	HAL_TIM_PWM_Stop(&htim3, TIM_CHANNEL_4);
	HAL_TIM_PWM_Stop(&htim4, TIM_CHANNEL_1);
	HAL_TIM_PWM_Stop(&htim4, TIM_CHANNEL_2);
	HAL_TIM_PWM_Stop(&htim4, TIM_CHANNEL_3);
	HAL_TIM_PWM_Stop(&htim4, TIM_CHANNEL_4);
	HAL_TIM_PWM_Stop(&htim8, TIM_CHANNEL_1);
	HAL_TIM_PWM_Stop(&htim8, TIM_CHANNEL_2);
	HAL_TIM_PWM_Stop(&htim8, TIM_CHANNEL_3);
	HAL_TIM_PWM_Stop(&htim8, TIM_CHANNEL_4);
}
void BuzzerOn(void)
{
	HAL_TIM_PWM_Start(&htim2, TIM_CHANNEL_3);
	TIM2->CCR3 = 250;
}
void BuzzerOff(void)
{
	HAL_TIM_PWM_Stop(&htim2, TIM_CHANNEL_3);
}
/*//void HAL_ADC_ConvCpltCallback(ADC_HandleTypeDef* hadc3)
//{
//	ADC_Data_3 = HAL_ADC_GetValue(hadc3);
////	HAL_ADC_Start_IT(hadc1);
//}*/
void HAL_GPIO_EXTI_Callback(uint16_t GPIO_Pin)
{
	if (GPIO_Pin == GPIO_PIN_4)
	{
//		HAL_NVIC_DisableIRQ(EXTI4_IRQn);
		StartAllChannels();
//		FlagIRQ = 1;
//    TimeIRQ = HAL_GetTick();
//		IRQn = EXTI4_IRQn;
		if (BuzzerFlag == 0)
		{
			BuzzerFlag = 1;
			BuzzerOn();
		}
	}
	else 	if (GPIO_Pin == GPIO_PIN_3)
				{
//					HAL_NVIC_DisableIRQ(EXTI3_IRQn);
					maxVolt = 0;
					maxCur = 0;
					BuzzerFlag = 0;
					StopAllChannels();
//					FlagIRQ = 1;
//          TimeIRQ = HAL_GetTick();
//					IRQn = EXTI3_IRQn;
					if (BuzzerFlag == 0)
					{
						BuzzerFlag = 1;
						BuzzerOn();
					}
				}
				else __NOP();
	if (GPIO_Pin == GPIO_PIN_2)
	{

		if (HAL_GPIO_ReadPin(GPIOE, GPIO_PIN_9) == GPIO_PIN_RESET)
		{
//			HAL_NVIC_DisableIRQ(EXTI2_IRQn);
			if (BuzzerFlag == 0)
			{
				BuzzerFlag = 1;
				BuzzerOn();
			}
			CalibAllChannels();
//			FlagIRQ = 1;
//      TimeIRQ = HAL_GetTick();
//			IRQn = EXTI2_IRQn;
		}
//		else
//		{
////			HAL_NVIC_DisableIRQ(EXTI2_IRQn);
//
//			BuzzerFlag = 0;
//			StopAllChannels();
//			HAL_GPIO_WritePin(GPIOE, GPIO_PIN_5, GPIO_PIN_RESET);
////			FlagIRQ = 1;
////      TimeIRQ = HAL_GetTick();
////			IRQn = EXTI2_IRQn;
//		}
	}
}

/*//float tempSens(void)
//{
//	float temp;
//	HAL_ADC_Start(&hadc1);
//	temp = (float)HAL_ADC_GetValue(&hadc1);
//	HAL_ADC_Stop(&hadc1);
//	return temp;
//}*/

void HAL_TIM_PeriodElapsedCallback(TIM_HandleTypeDef* htim)
{
	UpdateBuf();
}
/* USER CODE END 4 */

void Error_Handler(void)
{
}

/************************ (C) COPYRIGHT STMicroelectronics *****END OF FILE****/
